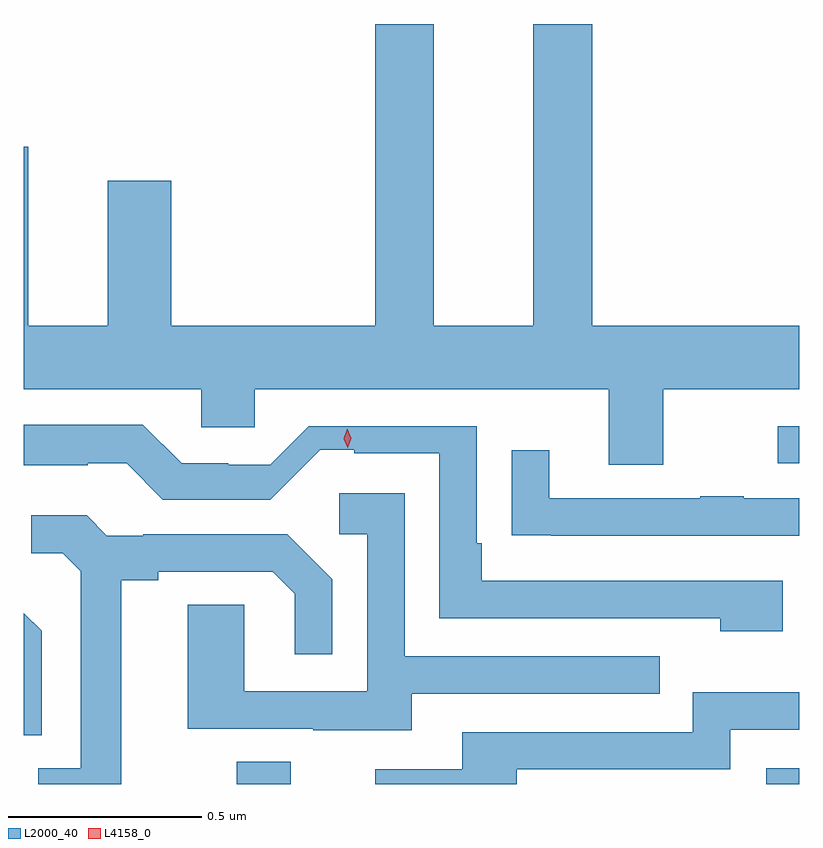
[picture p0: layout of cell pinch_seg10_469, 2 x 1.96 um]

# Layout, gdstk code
import gdstk
lib = gdstk.Library(unit=1e-6, precision=1e-09)
def R(c, l, rs):  # rectangles x0, y0, x1, y1
    for r in rs: c.add(gdstk.rectangle(r[:2], r[2:], *l))
def P(c, l, *ps):  # polygons
    for p in ps: c.add(gdstk.Polygon(p, *l))
L2000_40 = (2000, 40)
L4158_0 = (4158, 0)

pinch_seg10_469 = lib.new_cell('pinch_seg10_469')
R(pinch_seg10_469, L2000_40, [(357.149,1304.626,357.289,1304.684), (358.515,1304.626,358.6,1304.667), (358.545,1305.453,358.6,1305.549)])
P(pinch_seg10_469, L2000_40, [(358.249,1305.644),(358.6,1305.644),(358.6,1305.808),(358.067,1305.808),(358.067,1306.587),(357.914,1306.587),(357.914,1305.808),(357.658,1305.808),(357.658,1306.587),(357.506,1306.587),(357.506,1305.808),(356.98,1305.808),(356.98,1306.183),(356.816,1306.183),(356.816,1305.808),(356.611,1305.808),(356.611,1306.27),(356.6,1306.27),(356.6,1305.644),(357.057,1305.644),(357.057,1305.546),(357.195,1305.546),(357.195,1305.644),(358.109,1305.644),(358.109,1305.45),(358.249,1305.45)],
  [(358.558,1305.15),(357.781,1305.15),(357.781,1305.247),(357.768,1305.247),(357.768,1305.549),(357.335,1305.549),(357.236,1305.45),(357.127,1305.45),(357.127,1305.453),(357.007,1305.453),(356.907,1305.553),(356.6,1305.553),(356.6,1305.449),(356.765,1305.449),(356.765,1305.453),(356.865,1305.453),(356.958,1305.36),(357.236,1305.36),(357.364,1305.488),(357.452,1305.488),(357.452,1305.48),(357.672,1305.48),(357.672,1305.054),(358.397,1305.054),(358.397,1305.02),(358.558,1305.02)],
  [(358.6,1305.363),(358.457,1305.363),(358.457,1305.368),(358.345,1305.368),(358.345,1305.363),(357.955,1305.363),(357.955,1305.487),(357.859,1305.487),(357.859,1305.268),(357.961,1305.268),(357.961,1305.267),(358.6,1305.267)],
  [(357.601,1304.859),(358.241,1304.859),(358.241,1304.955),(357.582,1304.955),(357.582,1305.376),(357.414,1305.376),(357.414,1305.27),(357.486,1305.27),(357.486,1304.865),(357.168,1304.865),(357.168,1305.089),(357.023,1305.089),(357.023,1304.769),(357.347,1304.769),(357.347,1304.765),(357.601,1304.765)],
  [(356.851,1305.152),(356.947,1305.152),(356.947,1305.174),(357.242,1305.174),(357.299,1305.117),(357.299,1304.961),(357.396,1304.961),(357.396,1305.154),(357.28,1305.27),(356.908,1305.27),(356.908,1305.267),(356.814,1305.267),(356.762,1305.319),(356.619,1305.319),(356.619,1305.222),(356.7,1305.222),(356.747,1305.175),(356.747,1304.667),(356.637,1304.667),(356.637,1304.626),(356.851,1304.626)],
  [(356.646,1305.021),(356.6,1305.067),(356.6,1304.752),(356.646,1304.752)],
  [(357.871,1304.664),(358.422,1304.664),(358.422,1304.766),(358.6,1304.766),(358.6,1304.863),(358.326,1304.863),(358.326,1304.76),(357.731,1304.76),(357.731,1304.664),(357.507,1304.664),(357.507,1304.626),(357.871,1304.626)])
P(pinch_seg10_469, L4158_0, [(357.436,1305.492),(357.436,1305.493),(357.425,1305.517),(357.434,1305.543),(357.434,1305.543),(357.434,1305.543),(357.445,1305.518),(357.436,1305.493)])

lib.write_gds('pinch_seg10_469.gds')
